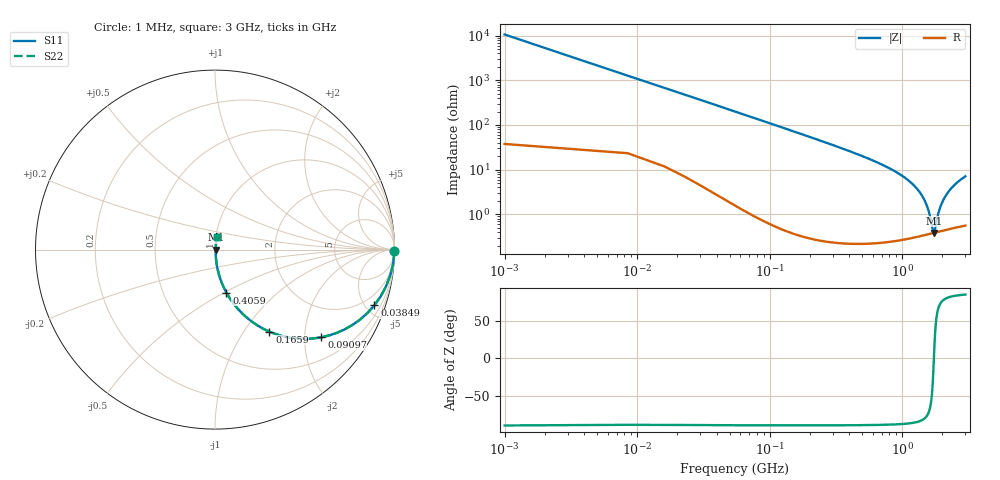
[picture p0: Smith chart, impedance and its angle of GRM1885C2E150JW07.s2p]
!Murata Part Number: GRM1885C2E150JW07
!These Parameters are Measured in Series Mode Connection
!Data Generated on Mar 30, 2021
!  o--ll--o
!Port1  Port2
!  o------o
!Operation Temp=25[degC], DC Bias Voltage=0[V]
!Freq. Start=1000[kHz] Stop=3[GHz] 401[Steps]
# Hz S RI R 50
!Freq.(Hz) S11(Real) S11(Imag) S21(Real) S21(Imag) S12(Real) S12(Imag) S22(Real) S22(Imag)
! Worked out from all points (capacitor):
!   401 points, 1 MHz to 3 GHz, reference 50 ohm
!   read as one part in series: C = 14.5 pF near 15.99 MHz
!   lowest |Z| = 386 mohm at 1.733 GHz (marker M1)
!   series resonance near 1.735 GHz, so ESL is about 580 pH
!   S11 on the Smith chart (normalised r, x): 1 MHz: open; 38.49 MHz: 1.06, -5.71; 90.97 MHz: 1.01, -2.41; 165.9 MHz: 1.01, -1.32; 405.9 MHz: 1.00, -0.51; 3 GHz: 1.01, +0.14
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1000000  0.9999 -0.00942  0.000122 0.00942  0.000122 0.00942  0.9999 -0.00942
2.34925e7  0.9533 -0.204  0.0467 0.204  0.0467 0.204  0.9533 -0.204
3.84875e7  0.8881 -0.3102  0.1119 0.3102  0.1119 0.3102  0.8881 -0.3102
6.098e7  0.763 -0.4216  0.237 0.4216  0.237 0.4216  0.763 -0.4216
9.097e7  0.5924 -0.4885  0.4076 0.4885  0.4076 0.4885  0.5924 -0.4885
1.284575e8  0.4213 -0.4912  0.5787 0.4912  0.5787 0.4912  0.4213 -0.4912
1.65945e8  0.3028 -0.4569  0.6972 0.4569  0.6972 0.4569  0.3028 -0.4569
2.634125e8  0.1444 -0.3485  0.8556 0.3485  0.8556 0.3485  0.1444 -0.3485
4.05865e8  0.0634 -0.2395  0.9366 0.2395  0.9366 0.2395  0.0634 -0.2395
5.033325e8  0.0404 -0.1916  0.9596 0.1916  0.9596 0.1916  0.0404 -0.1916
1.005665e9  0.00784 -0.0715  0.9922 0.0715  0.9922 0.0715  0.00784 -0.0715
1.305565e9  0.00444 -0.036  0.9956 0.036  0.9956 0.036  0.00444 -0.036
1.5005e9  0.00379 -0.0181  0.9962 0.0181  0.9962 0.0181  0.00379 -0.0181
1.597968e9  0.00372 -0.0102  0.9963 0.0102  0.9963 0.0102  0.00372 -0.0102
1.702932e9  0.0038 -0.0023  0.9962 0.0023  0.9962 0.0023  0.0038 -0.0023
1.732922e9  0.00384 -0.000129  0.9962 0.000129  0.9962 0.000129  0.00384 -0.000129
1.762912e9  0.00389 0.002  0.9961 -0.002  0.9961 -0.002  0.00389 0.002
1.882872e9  0.00418 0.0102  0.9958 -0.0102  0.9958 -0.0102  0.00418 0.0102
2.002832e9  0.00459 0.0178  0.9954 -0.0178  0.9954 -0.0178  0.00459 0.0178
2.212762e9  0.0055 0.0303  0.9945 -0.0303  0.9945 -0.0303  0.0055 0.0303
2.505165e9  0.00713 0.046  0.9929 -0.046  0.9929 -0.046  0.00713 0.046
3e9  0.0105 0.0699  0.9895 -0.0699  0.9895 -0.0699  0.0105 0.0699
